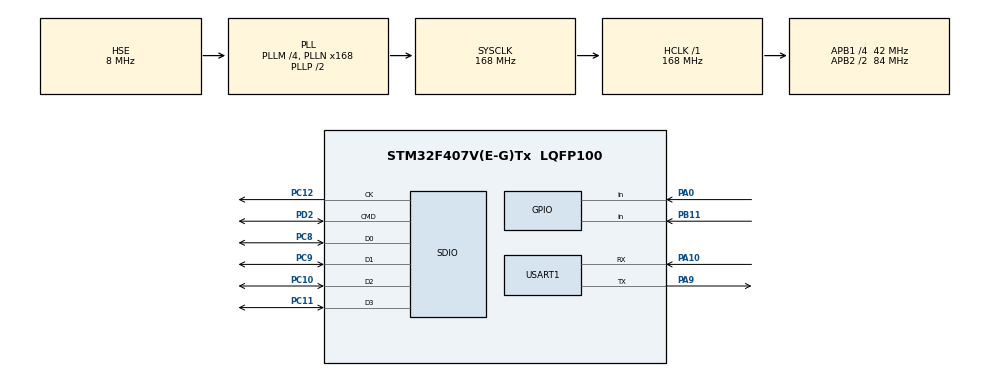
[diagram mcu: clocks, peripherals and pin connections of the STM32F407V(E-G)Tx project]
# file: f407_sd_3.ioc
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Dma.Request0=SDIO_RX
Dma.Request1=SDIO_TX
Dma.SDIO_RX.0.Direction=DMA_PERIPH_TO_MEMORY
Dma.SDIO_RX.0.FIFOMode=DMA_FIFOMODE_ENABLE
Dma.SDIO_RX.0.FIFOThreshold=DMA_FIFO_THRESHOLD_FULL
Dma.SDIO_RX.0.Instance=DMA2_Stream3
Dma.SDIO_RX.0.MemBurst=DMA_MBURST_INC4
Dma.SDIO_RX.0.MemDataAlignment=DMA_MDATAALIGN_WORD
Dma.SDIO_RX.0.MemInc=DMA_MINC_ENABLE
Dma.SDIO_RX.0.Mode=DMA_PFCTRL
Dma.SDIO_RX.0.PeriphBurst=DMA_PBURST_INC4
Dma.SDIO_RX.0.PeriphDataAlignment=DMA_PDATAALIGN_WORD
Dma.SDIO_RX.0.PeriphInc=DMA_PINC_DISABLE
Dma.SDIO_RX.0.Priority=DMA_PRIORITY_LOW
Dma.SDIO_TX.1.Direction=DMA_MEMORY_TO_PERIPH
Dma.SDIO_TX.1.FIFOMode=DMA_FIFOMODE_ENABLE
Dma.SDIO_TX.1.FIFOThreshold=DMA_FIFO_THRESHOLD_FULL
Dma.SDIO_TX.1.Instance=DMA2_Stream6
Dma.SDIO_TX.1.MemBurst=DMA_MBURST_INC4
Dma.SDIO_TX.1.MemDataAlignment=DMA_MDATAALIGN_WORD
Dma.SDIO_TX.1.MemInc=DMA_MINC_ENABLE
Dma.SDIO_TX.1.Mode=DMA_PFCTRL
Dma.SDIO_TX.1.PeriphBurst=DMA_PBURST_INC4
Dma.SDIO_TX.1.PeriphDataAlignment=DMA_PDATAALIGN_WORD
Dma.SDIO_TX.1.PeriphInc=DMA_PINC_DISABLE
Dma.SDIO_TX.1.Priority=DMA_PRIORITY_LOW
FATFS.BSP.number=1
FATFS0.BSP.STBoard=false
FATFS0.BSP.api=Unknown
FATFS0.BSP.instance=PA0-WKUP
FATFS0.BSP.ip=GPIO
FATFS0.BSP.mode=Input
FATFS0.BSP.name=Detect_SDIO
FATFS0.BSP.solution=PA0-WKUP
Mcu.Family=STM32F4
Mcu.Name=STM32F407V(E-G)Tx
Mcu.Package=LQFP100
NVIC.DMA2_Stream3_IRQn=true\:0\:0\:false\:false\:true\:false\:true\:true
NVIC.DMA2_Stream6_IRQn=true\:0\:0\:false\:false\:true\:false\:true\:true
NVIC.PriorityGroup=NVIC_PRIORITYGROUP_4
NVIC.SDIO_IRQn=true\:0\:0\:false\:false\:true\:true\:true\:true
PA0-WKUP.GPIO_PuPd=GPIO_PULLDOWN
PA0-WKUP.Signal=GPIO_Input
PA10.Mode=Asynchronous
PA10.Signal=USART1_RX
PA13.Mode=Serial_Wire
PA13.Signal=SYS_JTMS-SWDIO
PA14.Mode=Serial_Wire
PA14.Signal=SYS_JTCK-SWCLK
PA9.Mode=Asynchronous
PA9.Signal=USART1_TX
PB11.Signal=GPIO_Input
PC10.Mode=SD_4_bits_Wide_bus
PC10.Signal=SDIO_D2
PC11.Mode=SD_4_bits_Wide_bus
PC11.Signal=SDIO_D3
PC12.Mode=SD_4_bits_Wide_bus
PC12.Signal=SDIO_CK
PC14-OSC32_IN.Mode=LSE-External-Oscillator
PC14-OSC32_IN.Signal=RCC_OSC32_IN
PC15-OSC32_OUT.Mode=LSE-External-Oscillator
PC15-OSC32_OUT.Signal=RCC_OSC32_OUT
PC8.Mode=SD_4_bits_Wide_bus
PC8.Signal=SDIO_D0
PC9.Mode=SD_4_bits_Wide_bus
PC9.Signal=SDIO_D1
PD2.Mode=SD_4_bits_Wide_bus
PD2.Signal=SDIO_CMD
PH0-OSC_IN.Mode=HSE-External-Oscillator
PH0-OSC_IN.Signal=RCC_OSC_IN
PH1-OSC_OUT.Mode=HSE-External-Oscillator
PH1-OSC_OUT.Signal=RCC_OSC_OUT
ProjectManager.HeapSize=0x200
ProjectManager.StackSize=0x400
ProjectManager.TargetToolchain=MDK-ARM V5
RCC.48MHZClocksFreq_Value=48000000
RCC.AHBFreq_Value=168000000
RCC.APB1CLKDivider=RCC_HCLK_DIV4
RCC.APB1Freq_Value=42000000
RCC.APB1TimFreq_Value=84000000
RCC.APB2CLKDivider=RCC_HCLK_DIV2
RCC.APB2Freq_Value=84000000
RCC.APB2TimFreq_Value=168000000
RCC.CortexFreq_Value=168000000
RCC.HCLKFreq_Value=168000000
RCC.HSE_VALUE=8000000
RCC.HSI_VALUE=16000000
RCC.PLLM=4
RCC.PLLN=168
RCC.PLLQ=7
RCC.PLLSourceVirtual=RCC_PLLSOURCE_HSE
RCC.SYSCLKFreq_VALUE=168000000
RCC.SYSCLKSource=RCC_SYSCLKSOURCE_PLLCLK
RCC.VCOOutputFreq_Value=336000000
SDIO.ClockDiv=3
TIM4.Prescaler=71
USART1.VirtualMode=VM_ASYNC
VP_FATFS_VS_SDIO.Mode=SDIO
VP_RTC_VS_RTC_Activate.Mode=RTC_Enabled
VP_TIM4_VS_ClockSourceINT.Mode=Internal
board=custom

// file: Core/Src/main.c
/* USER CODE BEGIN Header */
/**
  ******************************************************************************
  * @file           : main.c
  * @brief          : Main program body
  ******************************************************************************
  * @attention
  *
  * Copyright (c) 2025 STMicroelectronics.
  * All rights reserved.
  *
  * This software is licensed under terms that can be found in the LICENSE file
  * in the root directory of this software component.
  * If no LICENSE file comes with this software, it is provided AS-IS.
  *
  ******************************************************************************
  */
/* USER CODE END Header */
#include "main.h"
#include "dma.h"
#include "fatfs.h"
#include "rtc.h"
#include "sdio.h"
#include "tim.h"
#include "usart.h"
#include "gpio.h"

/* USER CODE BEGIN Includes */
#include "ds18b20.h"
#include "stm32f4xx_hal.h"

#include <stdio.h>
#include <stdlib.h>
#include <string.h>
/* USER CODE END Includes */

/* USER CODE BEGIN PV */

uint16_t raw_temper;
//float temper;
//float temper_1 = 0.0f, temper_2 = 0.0f, temper_3 = 0.0f, temper_4 = 0.0f;
float temperatures[MAX_SENSORS] = {0};
uint8_t dt[8];

extern RTC_HandleTypeDef hrtc;

uint8_t Dev_ID[8][8]={0};
uint8_t Dev_Cnt;
char str1[60];  // Переменная для вывода через UART

FATFS fileSystem;
FIL testFile;

//
char c;
uint8_t i;

/* USER CODE END PV */

void SystemClock_Config(void);

/* USER CODE BEGIN 0 */
extern char SDPath[4];

/* USER CODE END 0 */

int main(void)
{
  /* USER CODE BEGIN 1 */

	uint8_t status;
	//char c;

  /* USER CODE END 1 */

  /* MCU Configuration--------------------------------------------------------*/

  /* Reset of all peripherals, Initializes the Flash interface and the Systick. */
  HAL_Init();

  /* Configure the system clock */
  SystemClock_Config();

  /* Initialize all configured peripherals */
  MX_GPIO_Init();
  MX_DMA_Init();
  MX_SDIO_SD_Init();
  MX_FATFS_Init();
  MX_USART1_UART_Init();
  MX_TIM4_Init();
  MX_RTC_Init();
  /* USER CODE BEGIN 2 */

	// SD card

  uint8_t testBuffer[16] = "SD write success";
  UINT testBytes;

	FRESULT res = f_mount(&fileSystem, SDPath, 1);
	if (res != FR_OK) {
			sprintf(str1, "SD mount failed: %d\r\n", res);
			HAL_UART_Transmit(&huart1, (uint8_t*)str1, strlen(str1), 1000);
	}

	// ds18b20 датчик температуры

	port_init();
	status = ds18b20_init(NO_SKIP_ROM);
	//sprintf(str1, "Init Status: %d\r\n", status);
	//HAL_UART_Transmit(&huart1,(uint8_t*)str1, strlen(str1), 0x1000);
	//sprintf(str1,"Dev count: %d\r\n", Dev_Cnt);
	//HAL_UART_Transmit(&huart1,(uint8_t*)str1, strlen(str1), 0x1000);
	HAL_TIM_Base_Start(&htim4);

	//HAL_UART_Transmit(&huart1,(uint8_t*)str1,strlen(str1),0x1000);
	//for(i = 1; i<=Dev_Cnt; i++)
	//{
		//sprintf(str1, "Device %d\r\n", i);
		//HAL_UART_Transmit(&huart1,(uint8_t*)str1, strlen(str1), 0x1000);
		//sprintf(str1,"ROM RAW: %02X %02X %02X %02X %02X %02X %02X %02X\r\n",
		//	Dev_ID[i-1][0], Dev_ID[i-1][1], Dev_ID[i-1][2], Dev_ID[i-1][3],
		//	Dev_ID[i-1][4], Dev_ID[i-1][5], Dev_ID[i-1][6], Dev_ID[i-1][7]);
		//HAL_UART_Transmit(&huart1,(uint8_t*)str1,strlen(str1),0x1000);
		//sprintf(str1,"Family CODE: 0x%02X\r\n", Dev_ID[i-1][0]);
		//HAL_UART_Transmit(&huart1,(uint8_t*)str1,strlen(str1),0x1000);
		//sprintf(str1,"ROM CODE: 0x%02X%02X%02X%02X%02X%02X\r\n", Dev_ID[i-1][6], Dev_ID[i-1][5],
		//	Dev_ID[i-1][4], Dev_ID[i-1][3], Dev_ID[i-1][2], Dev_ID[i-1][1]);
		//HAL_UART_Transmit(&huart1,(uint8_t*)str1,strlen(str1),0x1000);
		//sprintf(str1,"CRC: 0x%02X\r\n", Dev_ID[i-1][7]);
		//HAL_UART_Transmit(&huart1,(uint8_t*)str1,strlen(str1),0x1000);
	//}
	//sprintf(str1, "Found %d DS18B20 sensor(s)\r\n", Dev_Cnt);
	//HAL_UART_Transmit(&huart1, (uint8_t*)str1, strlen(str1), 1000);

	// Дата и время

	RTC_TimeTypeDef sTime = {0};
	RTC_DateTypeDef sDate = {0};

	sTime.Hours   = 12;
	sTime.Minutes = 30;
	sTime.Seconds = 0;
	sTime.DayLightSaving = RTC_DAYLIGHTSAVING_NONE;
	sTime.StoreOperation = RTC_STOREOPERATION_RESET;

	sDate.WeekDay = RTC_WEEKDAY_THURSDAY;
	sDate.Month   = RTC_MONTH_SEPTEMBER;
	sDate.Date    = 4;
	sDate.Year    = 25;

	HAL_RTC_SetTime(&hrtc, &sTime, RTC_FORMAT_BIN);
	HAL_RTC_SetDate(&hrtc, &sDate, RTC_FORMAT_BIN);

  /* USER CODE END 2 */

  /* Infinite loop */
  while (1)
  {

    /* USER CODE BEGIN 3 */

		//�?змерение температуры

		for (i = 1; i <= Dev_Cnt; i++) ds18b20_MeasureTemperCmd(NO_SKIP_ROM, i);
		HAL_Delay(800);

		for (int idx = 0; idx < MAX_SENSORS; idx++) temperatures[idx] = 0.0f;

		for(i = 1; i <= Dev_Cnt && i <= MAX_SENSORS; i++)
		{
			ds18b20_ReadStratcpad(NO_SKIP_ROM, dt, i);
			//sprintf(str1,"STRATHPAD %d: %02X %02X %02X %02X %02X %02X %02X %02X; ",
			//	i, dt[0], dt[1], dt[2], dt[3], dt[4], dt[5], dt[6], dt[7]);
			//HAL_UART_Transmit(&huart1,(uint8_t*)str1,strlen(str1),0x1000);
			raw_temper = ((uint16_t)dt[1]<<8)|dt[0];
			char sign = ds18b20_GetSign(raw_temper) ? '-' : '+';
			float temp_val = ds18b20_Convert(raw_temper);
			if (sign == '-') temp_val = -temp_val;
			temperatures[i - 1] = temp_val;

			//sprintf(str1,"Raw t: 0x%04X; t: %c%.2f\r\n", raw_temper, c, temper);
			//HAL_UART_Transmit(&huart1,(uint8_t*)str1,strlen(str1),0x1000);
		}
		HAL_Delay(150);

		// Запись на sd card

    FRESULT res = f_open(&testFile, "temp_log.txt", FA_WRITE | FA_OPEN_APPEND);
    if (res == FR_OK) {
			RTC_TimeTypeDef sTime = {0};
			RTC_DateTypeDef sDate = {0};

			if (HAL_RTC_GetTime(&hrtc, &sTime, RTC_FORMAT_BIN) == HAL_OK &&
					HAL_RTC_GetDate(&hrtc, &sDate, RTC_FORMAT_BIN) == HAL_OK) {

				// Формат: [ГГГГ-ММ-ДД ЧЧ:ММ:СС] T1 T2 .. T8
        char log_line[200] = {0};
        int len = snprintf(log_line, sizeof(log_line),
            "[%04d-%02d-%02d %02d:%02d:%02d]",
            2000 + sDate.Year, sDate.Month, sDate.Date,
            sTime.Hours, sTime.Minutes, sTime.Seconds);

				// Запись на sd card
				for (int idx = 0; idx < Dev_Cnt && idx < MAX_SENSORS; idx++) {
            float t = temperatures[idx];
            int16_t whole = (int16_t)t;
            int16_t frac = (int16_t)((t - whole) * (t >= 0 ? 100 : -100) + (t >= 0 ? 0.5f : -0.5f));
            if (frac >= 100) { frac = 0; whole += (t >= 0) ? 1 : -1; }
            if (frac < 0) frac = -frac;
            if (whole < 0) whole = -whole;

            len += snprintf(log_line + len, sizeof(log_line) - len,
                " T%d=%s%d.%02d", idx + 1,
                (temperatures[idx] >= 0) ? "+" : "-",
                whole, frac);
        }

				strcat(log_line, " C\r\n");
        f_puts(log_line, &testFile);

			} else {
				// Без времени
        char log_line[100] = "[--:--:--]";
        for (int idx = 0; idx < Dev_Cnt && idx < MAX_SENSORS; idx++) {
            char temp_str[20];
            snprintf(temp_str, sizeof(temp_str), " T%d=%.2f", idx + 1, temperatures[idx]);
            strcat(log_line, temp_str);
        }
        strcat(log_line, " C\r\n");
        f_puts(log_line, &testFile);
			}

			f_sync(&testFile);
			f_close(&testFile);
			HAL_UART_Transmit(&huart1, (uint8_t*)"Saved to SD\r\n", 13, 1000);
			}

			HAL_Delay(3700);  // Каждые 5 секунды (3700)
		}

  /* USER CODE END 3 */
}

void SystemClock_Config(void)
{
  RCC_OscInitTypeDef RCC_OscInitStruct = {0};
  RCC_ClkInitTypeDef RCC_ClkInitStruct = {0};

  /** Configure the main internal regulator output voltage
  */
  __HAL_RCC_PWR_CLK_ENABLE();
  __HAL_PWR_VOLTAGESCALING_CONFIG(PWR_REGULATOR_VOLTAGE_SCALE1);

  /** Initializes the RCC Oscillators according to the specified parameters
  * in the RCC_OscInitTypeDef structure.
  */
  RCC_OscInitStruct.OscillatorType = RCC_OSCILLATORTYPE_LSI|RCC_OSCILLATORTYPE_HSE;
  RCC_OscInitStruct.HSEState = RCC_HSE_ON;
  RCC_OscInitStruct.LSIState = RCC_LSI_ON;
  RCC_OscInitStruct.PLL.PLLState = RCC_PLL_ON;
  RCC_OscInitStruct.PLL.PLLSource = RCC_PLLSOURCE_HSE;
  RCC_OscInitStruct.PLL.PLLM = 4;
  RCC_OscInitStruct.PLL.PLLN = 168;
  RCC_OscInitStruct.PLL.PLLP = RCC_PLLP_DIV2;
  RCC_OscInitStruct.PLL.PLLQ = 7;
  if (HAL_RCC_OscConfig(&RCC_OscInitStruct) != HAL_OK)
  {
    Error_Handler();
  }

  /** Initializes the CPU, AHB and APB buses clocks
  */
  RCC_ClkInitStruct.ClockType = RCC_CLOCKTYPE_HCLK|RCC_CLOCKTYPE_SYSCLK
                              |RCC_CLOCKTYPE_PCLK1|RCC_CLOCKTYPE_PCLK2;
  RCC_ClkInitStruct.SYSCLKSource = RCC_SYSCLKSOURCE_PLLCLK;
  RCC_ClkInitStruct.AHBCLKDivider = RCC_SYSCLK_DIV1;
  RCC_ClkInitStruct.APB1CLKDivider = RCC_HCLK_DIV4;
  RCC_ClkInitStruct.APB2CLKDivider = RCC_HCLK_DIV2;

  if (HAL_RCC_ClockConfig(&RCC_ClkInitStruct, FLASH_LATENCY_5) != HAL_OK)
  {
    Error_Handler();
  }
}

void Error_Handler(void)
{
  __disable_irq();
  while (1)
  {
  }
}
